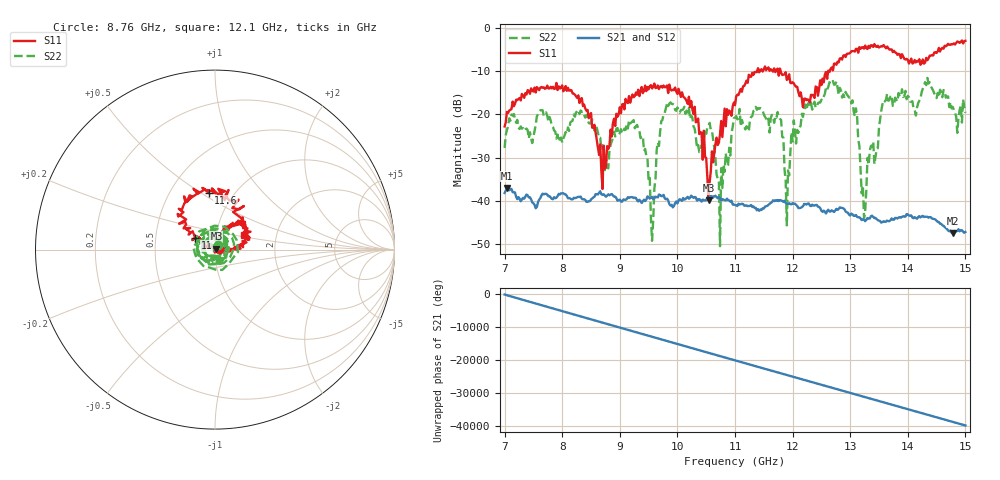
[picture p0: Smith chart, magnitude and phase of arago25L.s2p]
!Keysight Technologies,N5242B,MY47200105,A.14.00.23
!Date: Friday, April 26, 2024 11:31:47
!Correction: S11(C  2-Port  )
!S21(C  2-Port  )
!S12(C  2-Port  )
!S22(C  2-Port  )
!S2P File: Measurement: :
# Hz S  RI  R 50
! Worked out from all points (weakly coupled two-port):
!   401 points, 7 GHz to 15 GHz, reference 50 ohm
!   highest |S21| = -37.08 dB at 7.04 GHz (marker M1); lowest = -47.6 dB at 14.78 GHz (marker M2)
!   lowest |S11| = -39.9 dB at 10.54 GHz (marker M3), VSWR 1.02, Z = 50.8 + j0.596 ohm
!   |S11| at or under -10 dB: start of sweep to 11.38 GHz; 11.41495 GHz to 11.42977 GHz (14.82 MHz wide, 0.13 % of centre); 11.79 GHz to 12.62 GHz (824.8 MHz wide, 6.76 % of centre) (the widest 3 of 8)
!   |S22| runs from -50.5 to -11.5 dB; largest |S21 - S12| = 0.00024
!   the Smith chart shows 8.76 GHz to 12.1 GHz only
!   S11 on the Smith chart (normalised r, x): 8.76 GHz: 1.05, +0.01; 11 GHz: 0.80, +0.10; 11.6 GHz: 0.76, +0.54; 12.1 GHz: 1.37, +0.22
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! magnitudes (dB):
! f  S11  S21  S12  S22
! 7 GHz  -22.8  -38.2  -38.2  -27.8
! 7.04 GHz  -19.4  -37.1  -37.1  -23.6
! 8.34 GHz  -16.2  -39.5  -39.5  -19.4
! 8.76 GHz  -32.1  -39.1  -39.1  -29.9
! 9.26 GHz  -15.8  -39.3  -39.3  -23.2
! 9.58 GHz  -13.5  -39.7  -39.7  -44.6
! 9.68 GHz  -14.1  -38.6  -38.6  -27.3
! 9.86 GHz  -13.1  -40.8  -40.8  -17.5
! 10.26 GHz  -18.9  -39.1  -39.1  -20.8
! 10.54 GHz  -39.9  -39.6  -39.6  -22.6
! 10.74 GHz  -24.6  -39.4  -39.4  -50.5
! 11 GHz  -17.9  -41.0  -41.0  -20.8
! 11.6 GHz  -9.9  -40.7  -40.8  -24.2
! 11.78 GHz  -9.4  -39.8  -39.8  -21.0
! 11.9 GHz  -12.0  -40.9  -40.8  -45.7
! 12.1 GHz  -14.8  -41.7  -41.7  -24.3
! 12.34 GHz  -15.5  -40.9  -40.9  -18.9
! 13 GHz  -5.7  -43.4  -43.4  -16.2
! 13.24 GHz  -4.8  -44.4  -44.4  -44.1
! 13.68 GHz  -5.0  -44.7  -44.9  -16.7
! 14.78 GHz  -3.7  -47.6  -47.4  -18.2
! 15 GHz  -2.9  -47.3  -47.2  -19.6
